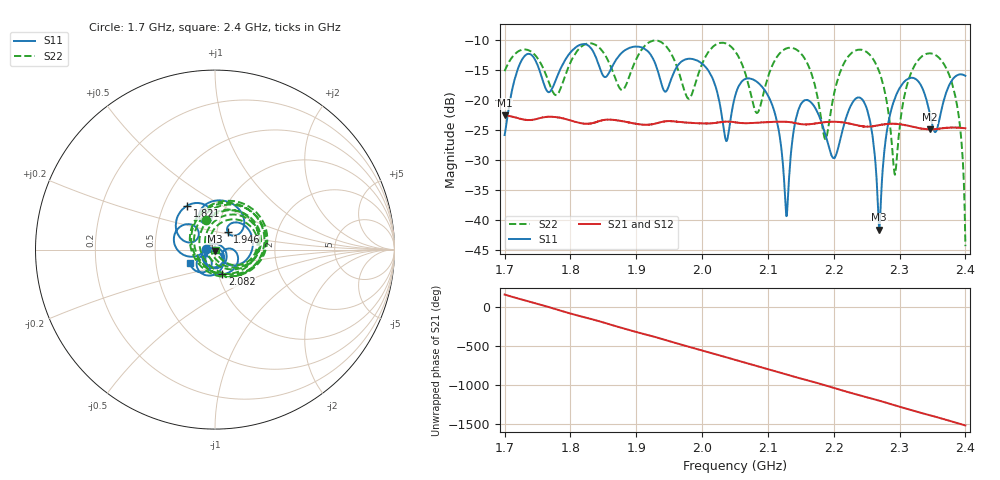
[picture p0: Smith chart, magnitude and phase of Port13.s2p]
# Hz S RI R 50
! CMT, CMT808U, 21440046, 21.4.3/4
! Date: 9/9/2026 12:57:12 AM
! Data: Format (Calibration Info)
! Freq	S11:Re/Im(F2)	S41:Re/Im(F2)	S14:Re/Im(F2)	S44:Re/Im(F2)
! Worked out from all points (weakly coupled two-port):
!   3001 points, 1.7 GHz to 2.4 GHz, reference 50 ohm
!   highest |S21| = -22.56 dB at 1.7 GHz (marker M1); lowest = -24.9 dB at 2.346 GHz (marker M2)
!   lowest |S11| = -41.6 dB at 2.269 GHz (marker M3), VSWR 1.02, Z = 49.8 - j0.812 ohm
!   |S11| at or under -10 dB: start of sweep to end of sweep
!   |S22| runs from -44.3 to -10.2 dB; largest |S21 - S12| = 0.0011
!   S11 on the Smith chart (normalised r, x): 1.7 GHz: 0.90, +0.01; 1.821 GHz: 0.66, +0.35; 1.946 GHz: 1.13, +0.22; 2.082 GHz: 1.04, -0.29; 2.4 GHz: 0.75, -0.11
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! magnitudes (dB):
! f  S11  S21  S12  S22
! 1.7 GHz  -25.9  -22.6  -22.6  -15.3
! 1.7 GHz  -25.6  -22.6  -22.6  -15.1
! 1.73 GHz  -12.8  -23.3  -23.3  -11.6
! 1.778 GHz  -16.6  -22.9  -22.9  -19.2
! 1.817 GHz  -10.8  -23.9  -23.9  -11.2
! 1.821 GHz  -10.8  -24.0  -24.0  -10.8
! 1.934 GHz  -15.5  -23.8  -23.8  -10.2
! 1.946 GHz  -18.5  -23.5  -23.6  -11.3
! 1.98 GHz  -13.2  -23.8  -23.8  -19.8
! 2.036 GHz  -26.8  -23.6  -23.6  -10.7
! 2.05 GHz  -19.5  -23.7  -23.7  -11.9
! 2.082 GHz  -16.9  -23.8  -23.8  -22.0
! 2.128 GHz  -39.3  -23.7  -23.7  -11.5
! 2.167 GHz  -20.6  -24.0  -24.0  -15.8
! 2.188 GHz  -25.9  -23.7  -23.7  -26.5
! 2.245 GHz  -20.2  -24.4  -24.4  -11.8
! 2.269 GHz  -41.6  -24.2  -24.2  -15.4
! 2.284 GHz  -23.5  -24.0  -24.0  -22.5
! 2.293 GHz  -19.6  -24.0  -24.0  -32.3
! 2.346 GHz  -22.4  -24.9  -24.9  -12.3
! 2.385 GHz  -16.1  -24.6  -24.6  -19.4
! 2.4 GHz  -16.0  -24.7  -24.7  -44.3
